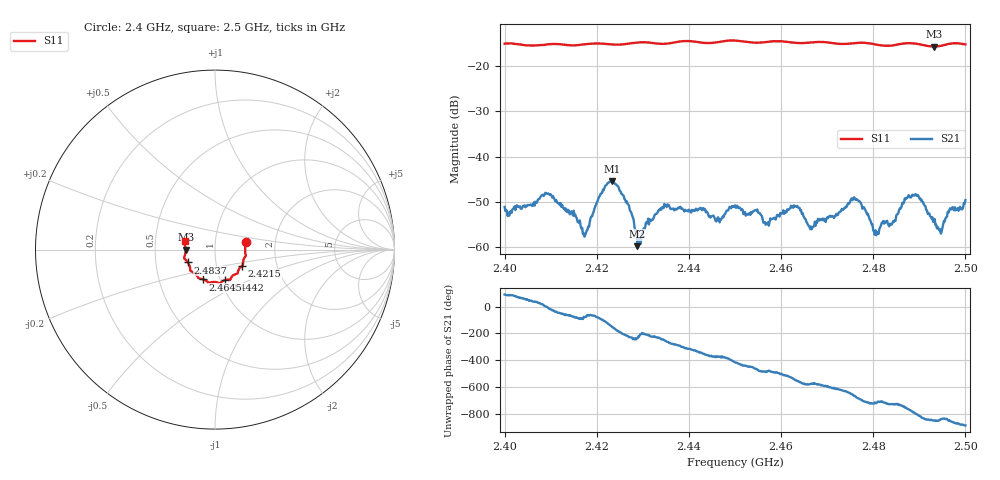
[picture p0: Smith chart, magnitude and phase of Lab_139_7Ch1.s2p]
# Hz S RI R 50
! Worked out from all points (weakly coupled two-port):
!   601 points, 2.4 GHz to 2.5 GHz, reference 50 ohm
!   highest |S21| = -45.35 dB at 2.4233 GHz (marker M1); lowest = -59.7 dB at 2.4288 GHz (marker M2)
!   lowest |S11| = -15.7 dB at 2.4932 GHz (marker M3), VSWR 1.39, Z = 36 - j0.048 ohm
!   |S11| at or under -10 dB: start of sweep to end of sweep
!   S12 and S22 are empty: the file has one direction only
!   S11 on the Smith chart (normalised r, x): 2.4 GHz: 1.41, +0.12; 2.4215 GHz: 1.33, -0.25; 2.4442 GHz: 1.05, -0.37; 2.4645 GHz: 0.83, -0.29; 2.4837 GHz: 0.73, -0.11; 2.5 GHz: 0.71, +0.07
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2.4e9  0.1713 0.0401  -2.92e-05 0.0028  0 0  0 0
2.409333e9  0.1707 -0.0269  0.00389 -0.000305  0 0  0 0
2.416667e9  0.1567 -0.0697  -1.28e-06 -0.00162  0 0  0 0
2.417833e9  0.1558 -0.0781  0.000564 -0.00144  0 0  0 0
2.4215e9  0.1511 -0.0899  -0.00113 -0.00413  0 0  0 0
2.423333e9  0.1426 -0.0971  -0.00476 -0.00255  0 0  0 0
2.427e9  0.1285 -0.1212  -0.00192 0.00213  0 0  0 0
2.428833e9  0.1274 -0.1294  -0.000563 0.000866  0 0  0 0
2.433333e9  0.1082 -0.1385  -0.00161 0.00195  0 0  0 0
2.444167e9  0.0565 -0.1695  0.00233 -0.00016  0 0  0 0
2.45e9  0.0247 -0.1889  0.00161 -0.00243  0 0  0 0
2.456833e9  -0.022 -0.1822  -0.00101 -0.00154  0 0  0 0
2.4645e9  -0.0659 -0.166  -0.00202 0.00121  0 0  0 0
2.466667e9  -0.0827 -0.1619  -0.00131 0.000889  0 0  0 0
2.475833e9  -0.1286 -0.1229  0.00214 0.00286  0 0  0 0
2.4805e9  -0.1387 -0.1028  0.00155 -6.21e-06  0 0  0 0
2.483333e9  -0.149 -0.0749  0.00174 -0.000228  0 0  0 0
2.483667e9  -0.151 -0.0715  0.00181 -0.000273  0 0  0 0
2.488833e9  -0.1712 -0.0453  0.00119 -0.00357  0 0  0 0
2.493167e9  -0.1634 -0.00065  -0.00126 -0.00146  0 0  0 0
2.494667e9  -0.1657 0.0178  -0.000762 -0.0012  0 0  0 0
2.5e9  -0.1652 0.0506  -0.00324 -0.000698  0 0  0 0
